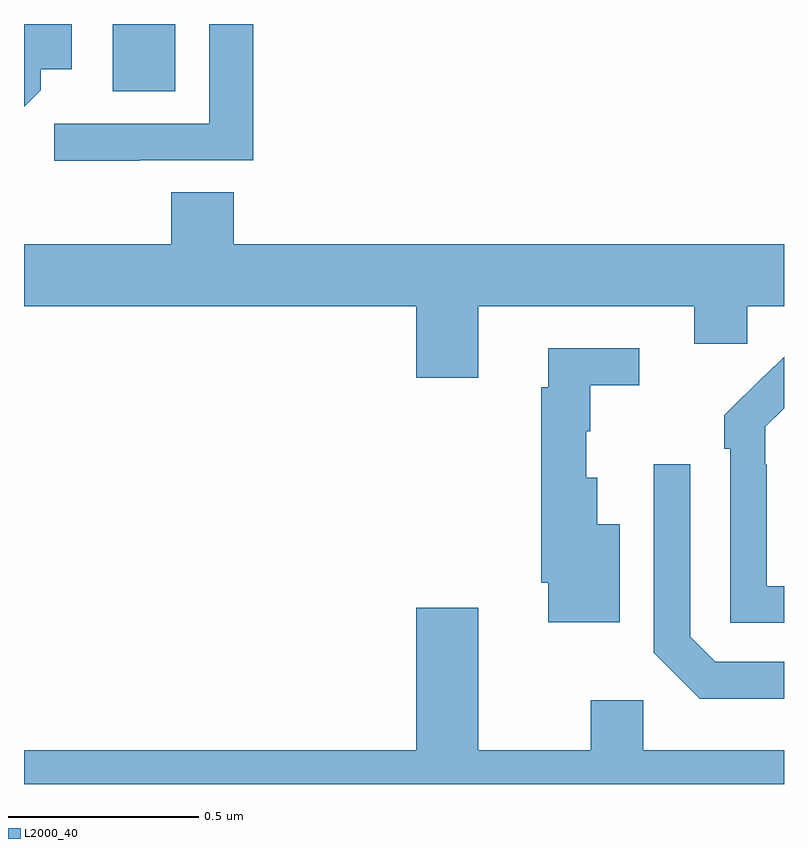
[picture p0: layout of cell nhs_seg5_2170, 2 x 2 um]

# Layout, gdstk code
import gdstk
lib = gdstk.Library(unit=1e-6, precision=1e-09)
def R(c, l, rs):  # rectangles x0, y0, x1, y1
    for r in rs: c.add(gdstk.rectangle(r[:2], r[2:], *l))
def P(c, l, *ps):  # polygons
    for p in ps: c.add(gdstk.Polygon(p, *l))
L2000_40 = (2000, 40)

nhs_seg5_2170 = lib.new_cell('nhs_seg5_2170')
R(nhs_seg5_2170, L2000_40, [(140.234,894.622,140.398,894.799)])
P(nhs_seg5_2170, L2000_40, [(140.303,894.441),(140.603,894.441),(140.603,894.799),(140.487,894.799),(140.487,894.537),(140.079,894.537),(140.079,894.439),(140.303,894.439)],
  [(140.044,894.625),(140.044,894.68),(140.125,894.68),(140.125,894.799),(140,894.799),(140,894.581)],
  [(141.196,894.056),(141.764,894.056),(141.764,893.958),(141.903,893.958),(141.903,894.056),(142,894.056),(142,894.22),(140.552,894.22),(140.552,894.356),(140.387,894.356),(140.387,894.22),(140,894.22),(140,894.056),(141.032,894.056),(141.032,893.868),(141.196,893.868)],
  [(141.568,893.482),(141.508,893.482),(141.508,893.605),(141.479,893.605),(141.479,893.727),(141.49,893.727),(141.49,893.848),(141.619,893.848),(141.619,893.946),(141.38,893.946),(141.38,893.843),(141.361,893.843),(141.361,893.329),(141.38,893.329),(141.38,893.225),(141.568,893.225)],
  [(142,893.319),(141.954,893.319),(141.954,893.639),(141.951,893.639),(141.951,893.739),(142,893.788),(142,893.924),(141.949,893.873),(141.948,893.874),(141.843,893.769),(141.843,893.681),(141.858,893.681),(141.858,893.223),(142,893.223)],
  [(142,893.121),(141.819,893.121),(141.753,893.187),(141.753,893.641),(141.657,893.641),(141.657,893.145),(141.778,893.024),(142,893.024)],
  [(142,892.888),(141.63,892.888),(141.63,893.02),(141.491,893.02),(141.491,892.888),(141.196,892.888),(141.196,893.263),(141.032,893.263),(141.032,892.888),(140,892.888),(140,892.799),(142,892.799)])

lib.write_gds('nhs_seg5_2170.gds')
